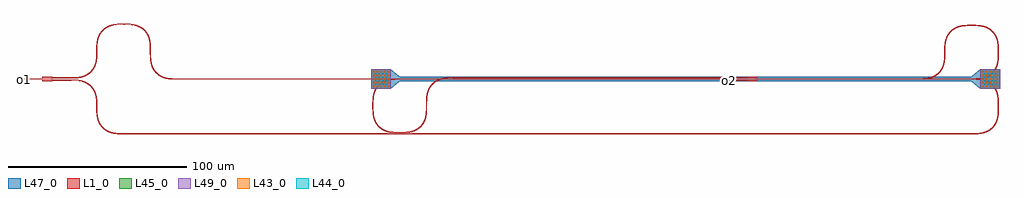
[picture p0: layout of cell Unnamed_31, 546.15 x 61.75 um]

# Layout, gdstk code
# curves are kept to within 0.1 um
from math import pi, radians
import gdstk
lib = gdstk.Library(unit=1e-6, precision=1e-09)
def R(c, l, rs):  # rectangles x0, y0, x1, y1
    for r in rs: c.add(gdstk.rectangle(r[:2], r[2:], *l))
def A(c, l, x, y, w, h, nx, ny, dx, dy):  # array of equal rectangles
    R(c, l, [(x+i*dx, y+j*dy, x+i*dx+w, y+j*dy+h) for i in range(nx) for j in range(ny)])
def P(c, l, *ps):  # polygons
    for p in ps: c.add(gdstk.Polygon(p, *l))
L1_0 = (1, 0)
L43_0 = (43, 0)
L44_0 = (44, 0)
L45_0 = (45, 0)
L47_0 = (47, 0)
L49_0 = (49, 0)

mmi1x2_wnone_wt1_lt10_l_ = lib.new_cell('mmi1x2_WNone_WT1_LT10_L_4e0f7121')
P(mmi1x2_wnone_wt1_lt10_l_, L1_0, [(0,-1.25),(0,-0.5),(-10,-0.25),(-10,0.25),(0,0.5),(0,1.25),(5.5,1.25),(5.5,1.125),(15.5,0.875),(15.5,0.375),(5.5,0.125),(5.5,-0.125),(15.5,-0.375),(15.5,-0.875),(5.5,-1.125),(5.5,-1.25)])

straight_heater_metal_u_ = lib.new_cell('straight_heater_metal_u_ba1ec95a')
R(straight_heater_metal_u_, L1_0, [(0,-0.25,320,0.25)])
A(straight_heater_metal_u_, L43_0, -14.75, -4.35, 0.7, 0.7, 5, 5, 2, 2)
A(straight_heater_metal_u_, L43_0, 326.05, -4.35, 0.7, 0.7, 5, 5, 2, 2)
A(straight_heater_metal_u_, L44_0, -13.75, -3.35, 0.7, 0.7, 4, 4, 2, 2)
A(straight_heater_metal_u_, L44_0, 327.05, -3.35, 0.7, 0.7, 4, 4, 2, 2)
R(straight_heater_metal_u_, L45_0, [(-15.9,-5.5,-4.9,5.5), (324.9,-5.5,335.9,5.5)])
P(straight_heater_metal_u_, L47_0, [(-15.9,-5.5),(-15.9,5.5),(-4.9,5.5),(0.1,1.25),(319.9,1.25),(324.9,5.5),(335.9,5.5),(335.9,-5.5),(324.9,-5.5),(319.9,-1.25),(0.1,-1.25),(-4.9,-5.5)])
R(straight_heater_metal_u_, L49_0, [(-15.9,-5.5,-4.9,5.5), (324.9,-5.5,335.9,5.5)])

bend_euler_r15_a90_p0p5_ = lib.new_cell('bend_euler_R15_A90_P0p5_14998747')
P(bend_euler_r15_a90_p0p5_, L1_0, [(0,-0.25),(0,0.25),(2.31,0.273),(4.332,0.406),(5.924,0.652),(7.346,1.03),(8.467,1.471),(9.541,2.045),(10.54,2.741),(11.45,3.55),(12.259,4.46),(12.955,5.459),(13.529,6.533),(13.97,7.654),(14.348,9.076),(14.594,10.668),(14.727,12.69),(14.75,15),(15.25,15),(15.222,12.537),(15.106,10.752),(14.891,9.246),(14.569,7.896),(14.099,6.583),(13.527,5.441),(12.739,4.262),(11.804,3.196),(10.738,2.261),(9.559,1.473),(8.417,0.901),(7.104,0.431),(5.754,0.109),(4.248,-0.106),(2.463,-0.222)])

straight_l0p625_n2_csstr = lib.new_cell('straight_L0p625_N2_CSstrip_WNone')
R(straight_l0p625_n2_csstr, L1_0, [(0,-0.25,0.625,0.25)])

straight_l124p5_n2_csstr = lib.new_cell('straight_L124p5_N2_CSstrip_WNone')
R(straight_l124p5_n2_csstr, L1_0, [(0,-0.25,124.5,0.25)])

straight_l474p5_n2_csstr = lib.new_cell('straight_L474p5_N2_CSstrip_WNone')
R(straight_l474p5_n2_csstr, L1_0, [(0,-0.25,474.5,0.25)])

straight_l80_n2_csstrip_ = lib.new_cell('straight_L80_N2_CSstrip_WNone')
R(straight_l80_n2_csstrip_, L1_0, [(0,-0.25,80,0.25)])

straight_l154p5_n2_csstr = lib.new_cell('straight_L154p5_N2_CSstrip_WNone')
R(straight_l154p5_n2_csstr, L1_0, [(0,-0.25,154.5,0.25)])

unnamed_31 = lib.new_cell('Unnamed_31')
P(unnamed_31, L1_0, [(-10,-0.25),(-10.25,0),(-10.062,0.188),(-10.025,0.188),(-10.215,0),(-10.025,0),(-10.025,0.188),(-10.062,0.188),(-10,0.25)],
  [(384.5,-0.875),(384.25,-0.625),(384.438,-0.437),(384.475,-0.437),(384.285,-0.625),(384.475,-0.625),(384.475,-0.437),(384.438,-0.437),(384.5,-0.375)])
unnamed_31.add(gdstk.Reference(mmi1x2_wnone_wt1_lt10_l_, (0,0)))
unnamed_31.add(gdstk.Reference(straight_heater_metal_u_, (200,0)))
unnamed_31.add(gdstk.Reference(mmi1x2_wnone_wt1_lt10_l_, (400,0), rotation=pi, x_reflection=True))
unnamed_31.add(gdstk.Reference(bend_euler_r15_a90_p0p5_, (30.5,15.625), rotation=3*pi/2, x_reflection=True))
unnamed_31.add(gdstk.Reference(bend_euler_r15_a90_p0p5_, (45.5,30.625), rotation=pi))
unnamed_31.add(gdstk.Reference(bend_euler_r15_a90_p0p5_, (60.5,15.625), rotation=pi/2))
unnamed_31.add(gdstk.Reference(bend_euler_r15_a90_p0p5_, (75.5,0), rotation=pi, x_reflection=True))
unnamed_31.add(gdstk.Reference(straight_l0p625_n2_csstr, (60.5,15), rotation=pi/2))
unnamed_31.add(gdstk.Reference(straight_l124p5_n2_csstr, (75.5,0)))
unnamed_31.add(gdstk.Reference(bend_euler_r15_a90_p0p5_, (30.5,-15.625), rotation=pi/2))
unnamed_31.add(gdstk.Reference(bend_euler_r15_a90_p0p5_, (45.5,-30.625), rotation=pi, x_reflection=True))
unnamed_31.add(gdstk.Reference(bend_euler_r15_a90_p0p5_, (535,-15.625), rotation=3*pi/2, x_reflection=True))
unnamed_31.add(gdstk.Reference(straight_l474p5_n2_csstr, (520,-30.625), rotation=pi))
unnamed_31.add(gdstk.Reference(bend_euler_r15_a90_p0p5_, (520,0), x_reflection=True))
unnamed_31.add(gdstk.Reference(straight_l0p625_n2_csstr, (535,-15), rotation=3*pi/2))
unnamed_31.add(gdstk.Reference(bend_euler_r15_a90_p0p5_, (535,15), rotation=3*pi/2, x_reflection=True))
unnamed_31.add(gdstk.Reference(bend_euler_r15_a90_p0p5_, (520,30), x_reflection=True))
unnamed_31.add(gdstk.Reference(bend_euler_r15_a90_p0p5_, (505,15), rotation=pi/2, x_reflection=True))
unnamed_31.add(gdstk.Reference(bend_euler_r15_a90_p0p5_, (490,0)))
unnamed_31.add(gdstk.Reference(straight_l80_n2_csstrip_, (490,0), rotation=pi))
unnamed_31.add(gdstk.Reference(bend_euler_r15_a90_p0p5_, (185,-15), rotation=pi/2, x_reflection=True))
unnamed_31.add(gdstk.Reference(bend_euler_r15_a90_p0p5_, (200,-30), rotation=pi, x_reflection=True))
unnamed_31.add(gdstk.Reference(bend_euler_r15_a90_p0p5_, (215,-15), rotation=3*pi/2, x_reflection=True))
unnamed_31.add(gdstk.Reference(bend_euler_r15_a90_p0p5_, (230,0.625), rotation=pi))
unnamed_31.add(gdstk.Reference(straight_l0p625_n2_csstr, (215,-14.375), rotation=3*pi/2))
unnamed_31.add(gdstk.Reference(straight_l154p5_n2_csstr, (230,0.625)))
unnamed_31.add(gdstk.Label('o1', (-10,0), layer=1, texttype=0))
unnamed_31.add(gdstk.Label('o2', (384.5,-0.625), layer=1, texttype=0))

lib.write_gds('Unnamed_31.gds')
